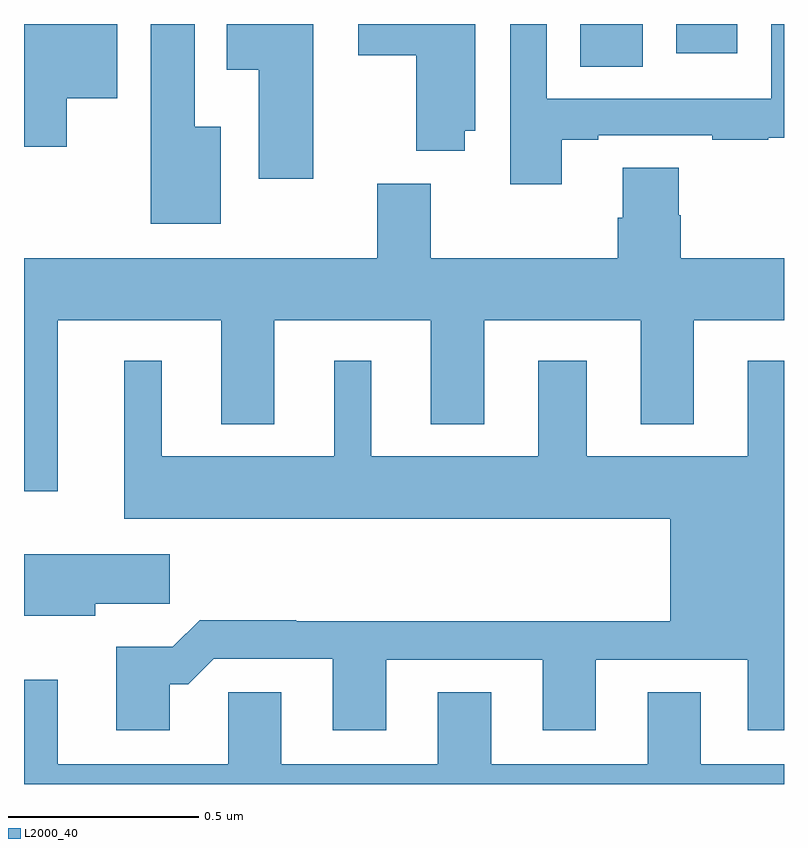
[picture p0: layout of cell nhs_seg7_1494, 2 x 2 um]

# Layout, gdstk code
import gdstk
lib = gdstk.Library(unit=1e-6, precision=1e-09)
def R(c, l, rs):  # rectangles x0, y0, x1, y1
    for r in rs: c.add(gdstk.rectangle(r[:2], r[2:], *l))
def P(c, l, *ps):  # polygons
    for p in ps: c.add(gdstk.Polygon(p, *l))
L2000_40 = (2000, 40)

nhs_seg7_1494 = lib.new_cell('nhs_seg7_1494')
R(nhs_seg7_1494, L2000_40, [(132.464,1063.888,132.628,1064), (132.716,1063.923,132.877,1064)])
P(nhs_seg7_1494, L2000_40, [(131.761,1064),(131.534,1064),(131.534,1063.88),(131.618,1063.88),(131.618,1063.593),(131.761,1063.593)],
  [(131.113,1063.805),(131.245,1063.805),(131.245,1064),(131,1064),(131,1063.677),(131.113,1063.677)],
  [(132.415,1063.695),(132.511,1063.695),(132.511,1063.707),(132.811,1063.707),(132.811,1063.695),(132.959,1063.695),(132.959,1063.701),(133,1063.701),(133,1064),(132.966,1064),(132.966,1063.803),(132.375,1063.803),(132.375,1064),(132.279,1064),(132.279,1063.578),(132.415,1063.578)],
  [(131.518,1063.729),(131.449,1063.729),(131.449,1064),(131.333,1064),(131.333,1063.475),(131.518,1063.475)],
  [(132.16,1063.719),(132.187,1063.719),(132.187,1064),(131.88,1064),(131.88,1063.918),(132.032,1063.918),(132.032,1063.667),(132.16,1063.667)],
  [(131.089,1063.22),(131.519,1063.22),(131.519,1062.947),(131.659,1062.947),(131.659,1063.22),(132.071,1063.22),(132.071,1062.947),(132.211,1062.947),(132.211,1063.22),(132.623,1063.22),(132.623,1062.947),(132.763,1062.947),(132.763,1063.22),(133,1063.22),(133,1063.384),(132.728,1063.384),(132.728,1063.497),(132.723,1063.497),(132.723,1063.622),(132.575,1063.622),(132.575,1063.49),(132.563,1063.49),(132.563,1063.384),(132.07,1063.384),(132.07,1063.579),(131.93,1063.579),(131.93,1063.384),(131,1063.384),(131,1062.771),(131.089,1062.771)],
  [(131.383,1062.263),(131.432,1062.263),(131.499,1062.33),(131.813,1062.33),(131.813,1062.141),(131.953,1062.141),(131.953,1062.327),(132.365,1062.327),(132.365,1062.141),(132.505,1062.141),(132.505,1062.327),(132.905,1062.327),(132.905,1062.141),(133,1062.141),(133,1063.114),(132.905,1063.114),(132.905,1062.862),(132.481,1062.862),(132.481,1063.114),(132.353,1063.114),(132.353,1062.862),(131.914,1062.862),(131.914,1063.114),(131.816,1063.114),(131.816,1062.862),(131.362,1062.862),(131.362,1063.114),(131.264,1063.114),(131.264,1062.698),(132.701,1062.698),(132.701,1062.428),(131.717,1062.428),(131.717,1062.431),(131.462,1062.431),(131.392,1062.361),(131.243,1062.361),(131.243,1062.141),(131.383,1062.141)],
  [(131.188,1062.475),(131.383,1062.475),(131.383,1062.604),(131,1062.604),(131,1062.443),(131.188,1062.443)],
  [(133,1062.052),(132.781,1062.052),(132.781,1062.242),(132.641,1062.242),(132.641,1062.052),(132.229,1062.052),(132.229,1062.242),(132.089,1062.242),(132.089,1062.052),(131.677,1062.052),(131.677,1062.242),(131.538,1062.242),(131.538,1062.052),(131.089,1062.052),(131.089,1062.274),(131,1062.274),(131,1062),(133,1062)])

lib.write_gds('nhs_seg7_1494.gds')
